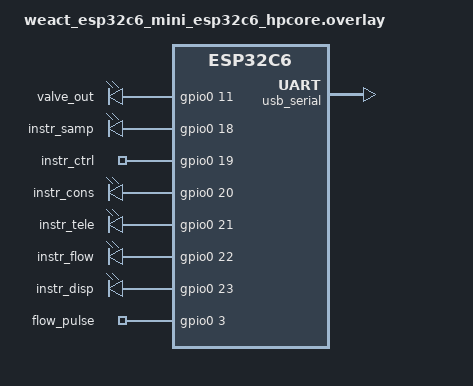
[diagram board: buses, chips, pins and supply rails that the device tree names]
/*
 * ESP32-C6 SuperMini (WeAct) pin map for SoilSense.
 *
 * The application logic stays unchanged. This overlay selects the USB
 * Serial/JTAG console and assigns the logic-analyzer instrumentation pins.
 */

#include <zephyr/dt-bindings/gpio/gpio.h>

/ {
	chosen {
		zephyr,console = &usb_serial;
		zephyr,shell-uart = &usb_serial;
	};

	aliases {
		led0 = &valve_out;
	};

	leds {
		compatible = "gpio-leds";

		valve_out: valve_out {
			gpios = <&gpio0 11 GPIO_ACTIVE_HIGH>;
		};
	};

	instr {
		compatible = "gpio-leds";

		instr_samp: instr_samp {
			gpios = <&gpio0 18 GPIO_ACTIVE_HIGH>;
		};

		instr_ctrl: instr_ctrl {
			gpios = <&gpio0 19 GPIO_ACTIVE_HIGH>;
		};

		instr_cons: instr_cons {
			gpios = <&gpio0 20 GPIO_ACTIVE_HIGH>;
		};

		instr_tele: instr_tele {
			gpios = <&gpio0 21 GPIO_ACTIVE_HIGH>;
		};

		instr_flow: instr_flow {
			gpios = <&gpio0 22 GPIO_ACTIVE_HIGH>;
		};

		instr_disp: instr_disp {
			gpios = <&gpio0 23 GPIO_ACTIVE_HIGH>;
		};
	};

	keys {
		compatible = "gpio-keys";

		flow_pulse: flow_pulse {
			gpios = <&gpio0 3
				 (GPIO_ACTIVE_HIGH | GPIO_PULL_DOWN)>;
		};
	};
};

/* Use the USB-C serial/JTAG device as the Zephyr console. */
&usb_serial {
	status = "okay";
};

/* GPIO3 belongs to SPI2 in the base board file; SoilSense uses it as input. */
&spi2 {
	status = "disabled";
};
